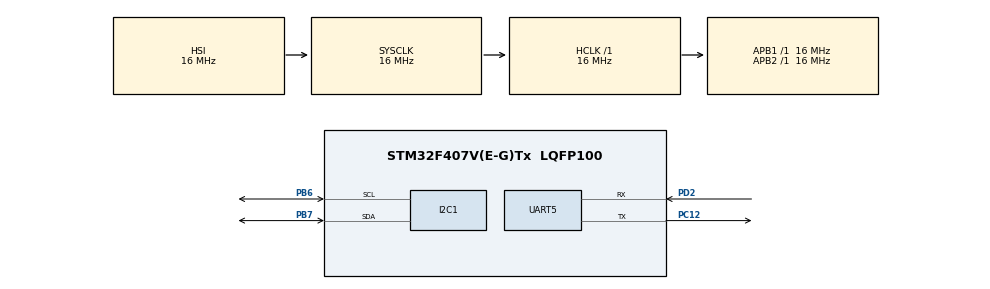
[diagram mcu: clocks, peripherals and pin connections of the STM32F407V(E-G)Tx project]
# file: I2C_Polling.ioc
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Mcu.Family=STM32F4
Mcu.Name=STM32F407V(E-G)Tx
Mcu.Package=LQFP100
NVIC.PriorityGroup=NVIC_PRIORITYGROUP_4
PA13.Mode=Serial_Wire
PA13.Signal=SYS_JTMS-SWDIO
PA14.Mode=Serial_Wire
PA14.Signal=SYS_JTCK-SWCLK
PB6.Mode=I2C
PB6.Signal=I2C1_SCL
PB7.Mode=I2C
PB7.Signal=I2C1_SDA
PC12.Mode=Asynchronous
PC12.Signal=UART5_TX
PD2.Mode=Asynchronous
PD2.Signal=UART5_RX
ProjectManager.HeapSize=0x200
ProjectManager.StackSize=0x400
ProjectManager.TargetToolchain=MDK-ARM V5.32
RCC.AHBFreq_Value=16000000
RCC.APB1Freq_Value=16000000
RCC.APB2Freq_Value=16000000
RCC.CortexFreq_Value=16000000
RCC.HSE_VALUE=25000000
RCC.HSI_VALUE=16000000
RCC.LSE_VALUE=32768
RCC.SYSCLKFreq_VALUE=16000000
RCC.VCOOutputFreq_Value=192000000
UART5.VirtualMode=Asynchronous
board=custom

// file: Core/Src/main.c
/* USER CODE BEGIN Header */
/**
  ******************************************************************************
  * @file           : main.c
  * @brief          : Main program body
  ******************************************************************************
  * @attention
  *
  * Copyright (c) 2026 STMicroelectronics.
  * All rights reserved.
  *
  * This software is licensed under terms that can be found in the LICENSE file
  * in the root directory of this software component.
  * If no LICENSE file comes with this software, it is provided AS-IS.
  *
  ******************************************************************************
  */
/* USER CODE END Header */
#include "main.h"

/* USER CODE BEGIN Includes */
#include <stdio.h>
#include <string.h>
/* USER CODE END Includes */

/* USER CODE BEGIN PD */
#define MPU6500_ADDRESS     (0x68 << 1)
#define WHO_AM_I_MPU6500    0x75    // Should return 0x70
#define PWR_MGMT_1          0x6B
#define ACCEL_XOUT_H        0x3B
/* USER CODE END PD */

I2C_HandleTypeDef hi2c1;

UART_HandleTypeDef huart5;

void SystemClock_Config(void);
static void MX_GPIO_Init(void);
static void MX_I2C1_Init(void);
static void MX_UART5_Init(void);

/* USER CODE BEGIN 0 */
static void UART_Print(char *str)
{
    HAL_UART_Transmit(&huart5, (uint8_t *)str, strlen(str), 100);
}
/* USER CODE END 0 */

int main(void)
{

  /* MCU Configuration--------------------------------------------------------*/

  /* Reset of all peripherals, Initializes the Flash interface and the Systick. */
  HAL_Init();

  /* Configure the system clock */
  SystemClock_Config();

  /* Initialize all configured peripherals */
  MX_GPIO_Init();
  MX_I2C1_Init();
  MX_UART5_Init();
  /* USER CODE BEGIN 2 */
	uint8_t readData = 0;
	uint8_t writeData = 0;
	uint8_t accelData[6];

	int16_t accelX = 0;
	int16_t accelY = 0;
	int16_t accelZ = 0;

	char msg[128];
	HAL_StatusTypeDef ret;

	HAL_Delay(100);

	/* 1. Read WHO_AM_I */
	ret = HAL_I2C_Mem_Read(&hi2c1,
												 MPU6500_ADDRESS,
												 WHO_AM_I_MPU6500,
												 I2C_MEMADD_SIZE_8BIT,
												 &readData,
												 1,
												 100);

	if (ret == HAL_OK)
	{
			snprintf(msg, sizeof(msg), "WHO_AM_I = 0x%02X\r\n", readData);
			UART_Print(msg);

			if (readData == 0x70)
			{
					UART_Print("MPU6500 detected.\r\n");
			}
			else
			{
					UART_Print("WHO_AM_I value is not 0x70.\r\n");
			}
	}
	else
	{
			UART_Print("Read WHO_AM_I failed.\r\n");
	}

	/* 2. Wake up MPU6500: PWR_MGMT_1 = 0x00 */
	writeData = 0x00;

	ret = HAL_I2C_Mem_Write(&hi2c1,
													MPU6500_ADDRESS,
													PWR_MGMT_1,
													I2C_MEMADD_SIZE_8BIT,
													&writeData,
													1,
													100);

	if (ret == HAL_OK)
	{
			UART_Print("Write PWR_MGMT_1 success.\r\n");
	}
	else
	{
			UART_Print("Write PWR_MGMT_1 failed.\r\n");
	}

	HAL_Delay(100);

	/* 3. Read back PWR_MGMT_1 */
	ret = HAL_I2C_Mem_Read(&hi2c1,
												 MPU6500_ADDRESS,
												 PWR_MGMT_1,
												 I2C_MEMADD_SIZE_8BIT,
												 &readData,
												 1,
												 100);

	if (ret == HAL_OK)
	{
			snprintf(msg, sizeof(msg), "PWR_MGMT_1 = 0x%02X\r\n\r\n", readData);
			UART_Print(msg);
	}
	else
	{
			UART_Print("Read PWR_MGMT_1 failed.\r\n\r\n");
	}

	UART_Print("Start reading ACCEL data...\r\n");
  /* USER CODE END 2 */

  /* Infinite loop */
  while (1)
  {

    /* USER CODE BEGIN 3 */
		ret = HAL_I2C_Mem_Read(&hi2c1,
													 MPU6500_ADDRESS,
													 ACCEL_XOUT_H,
													 I2C_MEMADD_SIZE_8BIT,
													 accelData,
													 6,
													 100);

		if (ret == HAL_OK)
		{
				accelX = (int16_t)((accelData[0] << 8) | accelData[1]);
				accelY = (int16_t)((accelData[2] << 8) | accelData[3]);
				accelZ = (int16_t)((accelData[4] << 8) | accelData[5]);

				snprintf(msg, sizeof(msg),
								 "ACCEL_X = %d, ACCEL_Y = %d, ACCEL_Z = %d\r\n",
								 accelX, accelY, accelZ);

				UART_Print(msg);
		}
		else
		{
				UART_Print("Read ACCEL data failed.\r\n");
		}

		HAL_Delay(500);
  }
  /* USER CODE END 3 */
}

void SystemClock_Config(void)
{
  RCC_OscInitTypeDef RCC_OscInitStruct = {0};
  RCC_ClkInitTypeDef RCC_ClkInitStruct = {0};

  /** Configure the main internal regulator output voltage
  */
  __HAL_RCC_PWR_CLK_ENABLE();
  __HAL_PWR_VOLTAGESCALING_CONFIG(PWR_REGULATOR_VOLTAGE_SCALE1);

  /** Initializes the RCC Oscillators according to the specified parameters
  * in the RCC_OscInitTypeDef structure.
  */
  RCC_OscInitStruct.OscillatorType = RCC_OSCILLATORTYPE_HSI;
  RCC_OscInitStruct.HSIState = RCC_HSI_ON;
  RCC_OscInitStruct.HSICalibrationValue = RCC_HSICALIBRATION_DEFAULT;
  RCC_OscInitStruct.PLL.PLLState = RCC_PLL_NONE;
  if (HAL_RCC_OscConfig(&RCC_OscInitStruct) != HAL_OK)
  {
    Error_Handler();
  }

  /** Initializes the CPU, AHB and APB buses clocks
  */
  RCC_ClkInitStruct.ClockType = RCC_CLOCKTYPE_HCLK|RCC_CLOCKTYPE_SYSCLK
                              |RCC_CLOCKTYPE_PCLK1|RCC_CLOCKTYPE_PCLK2;
  RCC_ClkInitStruct.SYSCLKSource = RCC_SYSCLKSOURCE_HSI;
  RCC_ClkInitStruct.AHBCLKDivider = RCC_SYSCLK_DIV1;
  RCC_ClkInitStruct.APB1CLKDivider = RCC_HCLK_DIV1;
  RCC_ClkInitStruct.APB2CLKDivider = RCC_HCLK_DIV1;

  if (HAL_RCC_ClockConfig(&RCC_ClkInitStruct, FLASH_LATENCY_0) != HAL_OK)
  {
    Error_Handler();
  }
}

static void MX_I2C1_Init(void)
{

  hi2c1.Instance = I2C1;
  hi2c1.Init.ClockSpeed = 100000;
  hi2c1.Init.DutyCycle = I2C_DUTYCYCLE_2;
  hi2c1.Init.OwnAddress1 = 0;
  hi2c1.Init.AddressingMode = I2C_ADDRESSINGMODE_7BIT;
  hi2c1.Init.DualAddressMode = I2C_DUALADDRESS_DISABLE;
  hi2c1.Init.OwnAddress2 = 0;
  hi2c1.Init.GeneralCallMode = I2C_GENERALCALL_DISABLE;
  hi2c1.Init.NoStretchMode = I2C_NOSTRETCH_DISABLE;
  if (HAL_I2C_Init(&hi2c1) != HAL_OK)
  {
    Error_Handler();
  }

}

static void MX_UART5_Init(void)
{

  huart5.Instance = UART5;
  huart5.Init.BaudRate = 115200;
  huart5.Init.WordLength = UART_WORDLENGTH_8B;
  huart5.Init.StopBits = UART_STOPBITS_1;
  huart5.Init.Parity = UART_PARITY_NONE;
  huart5.Init.Mode = UART_MODE_TX_RX;
  huart5.Init.HwFlowCtl = UART_HWCONTROL_NONE;
  huart5.Init.OverSampling = UART_OVERSAMPLING_16;
  if (HAL_UART_Init(&huart5) != HAL_OK)
  {
    Error_Handler();
  }

}

static void MX_GPIO_Init(void)
{

  /* GPIO Ports Clock Enable */
  __HAL_RCC_GPIOA_CLK_ENABLE();
  __HAL_RCC_GPIOC_CLK_ENABLE();
  __HAL_RCC_GPIOD_CLK_ENABLE();
  __HAL_RCC_GPIOB_CLK_ENABLE();

}

void Error_Handler(void)
{
  __disable_irq();
  while (1)
  {
  }
}
